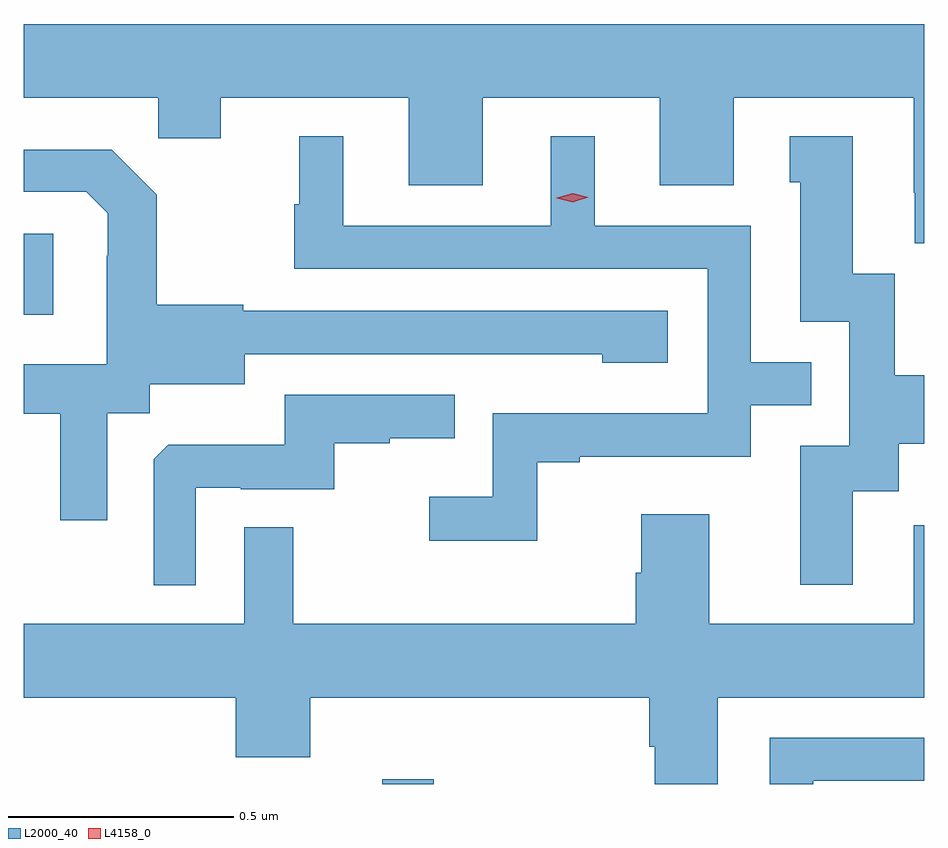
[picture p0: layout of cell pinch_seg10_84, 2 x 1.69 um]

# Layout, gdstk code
import gdstk
lib = gdstk.Library(unit=1e-6, precision=1e-09)
def R(c, l, rs):  # rectangles x0, y0, x1, y1
    for r in rs: c.add(gdstk.rectangle(r[:2], r[2:], *l))
def P(c, l, *ps):  # polygons
    for p in ps: c.add(gdstk.Polygon(p, *l))
L2000_40 = (2000, 40)
L4158_0 = (4158, 0)

pinch_seg10_84 = lib.new_cell('pinch_seg10_84')
R(pinch_seg10_84, L2000_40, [(889.98,1293.464,890.095,1293.475), (889.184,1294.506,889.249,1294.686)])
P(pinch_seg10_84, L2000_40, [(891.184,1295.152),(889.184,1295.152),(889.184,1294.988),(889.483,1294.988),(889.483,1294.898),(889.621,1294.898),(889.621,1294.988),(890.039,1294.988),(890.039,1294.794),(890.203,1294.794),(890.203,1294.988),(890.597,1294.988),(890.597,1294.794),(890.761,1294.794),(890.761,1294.988),(891.161,1294.988),(891.161,1294.777),(891.163,1294.777),(891.163,1294.665),(891.184,1294.665)],
  [(890.325,1294.179),(890.419,1294.179),(890.419,1294.191),(890.799,1294.191),(890.799,1294.305),(890.933,1294.305),(890.933,1294.401),(890.799,1294.401),(890.799,1294.704),(890.452,1294.704),(890.452,1294.903),(890.354,1294.903),(890.354,1294.704),(889.894,1294.704),(889.894,1294.903),(889.796,1294.903),(889.796,1294.752),(889.785,1294.752),(889.785,1294.608),(890.703,1294.608),(890.703,1294.287),(890.226,1294.287),(890.226,1294.102),(890.085,1294.102),(890.085,1294.004),(890.325,1294.004)],
  [(891.025,1294.114),(891.127,1294.114),(891.127,1294.22),(891.184,1294.22),(891.184,1294.372),(891.118,1294.372),(891.118,1294.597),(891.025,1294.597),(891.025,1294.903),(890.885,1294.903),(890.885,1294.8),(890.909,1294.8),(890.909,1294.491),(891.018,1294.491),(891.018,1294.215),(890.909,1294.215),(890.909,1293.906),(891.025,1293.906)],
  [(889.369,1294.288),(889.464,1294.288),(889.464,1294.352),(889.675,1294.352),(889.675,1294.419),(890.233,1294.419),(890.233,1294.418),(890.469,1294.418),(890.469,1294.4),(890.614,1294.4),(890.614,1294.515),(889.671,1294.515),(889.671,1294.528),(889.479,1294.528),(889.479,1294.773),(889.379,1294.873),(889.184,1294.873),(889.184,1294.779),(889.323,1294.779),(889.37,1294.732),(889.37,1294.637),(889.368,1294.637),(889.368,1294.396),(889.184,1294.396),(889.184,1294.286),(889.265,1294.286),(889.265,1294.05),(889.369,1294.05)],
  [(889.566,1294.122),(889.666,1294.122),(889.666,1294.119),(889.874,1294.119),(889.874,1294.221),(889.997,1294.221),(889.997,1294.232),(890.141,1294.232),(890.141,1294.329),(889.764,1294.329),(889.764,1294.217),(889.505,1294.217),(889.473,1294.185),(889.473,1293.905),(889.566,1293.905)],
  [(890.725,1293.656),(891.184,1293.656),(891.184,1294.039),(891.161,1294.039),(891.161,1293.82),(890.707,1293.82),(890.707,1294.063),(890.555,1294.063),(890.555,1293.933),(890.543,1293.933),(890.543,1293.82),(889.783,1293.82),(889.783,1294.034),(889.674,1294.034),(889.674,1293.82),(889.184,1293.82),(889.184,1293.656),(889.655,1293.656),(889.655,1293.523),(889.82,1293.523),(889.82,1293.656),(890.573,1293.656),(890.573,1293.547),(890.586,1293.547),(890.586,1293.464),(890.725,1293.464)],
  [(890.937,1293.471),(891.184,1293.471),(891.184,1293.567),(890.841,1293.567),(890.841,1293.464),(890.937,1293.464)])
P(pinch_seg10_84, L4158_0, [(890.403,1294.756),(890.368,1294.765),(890.368,1294.765),(890.368,1294.766),(890.403,1294.776),(890.438,1294.767),(890.438,1294.767),(890.438,1294.767)])

lib.write_gds('pinch_seg10_84.gds')
